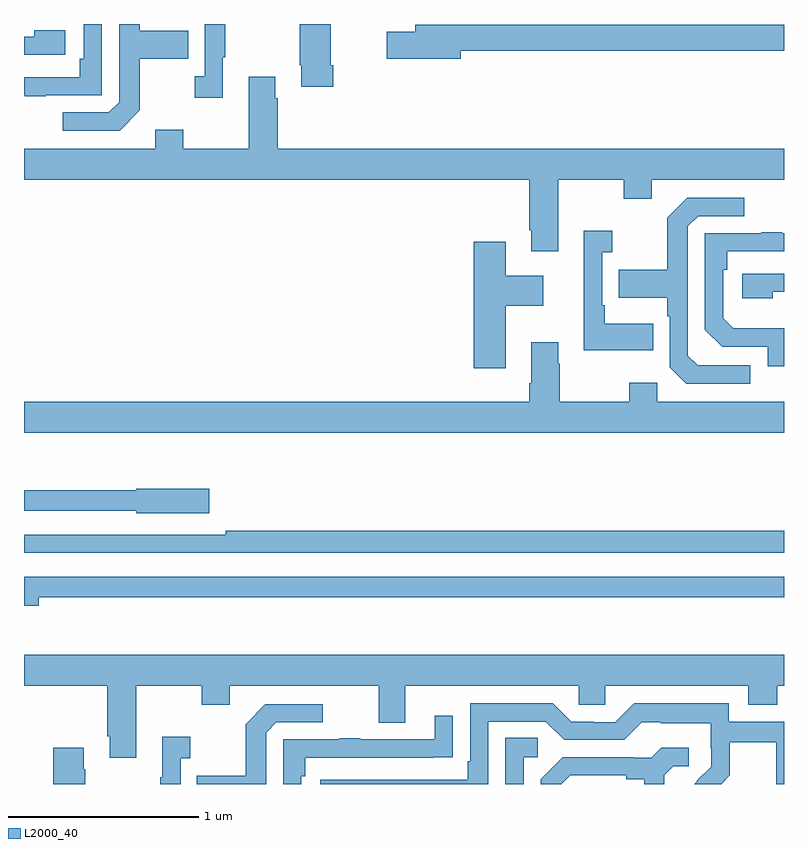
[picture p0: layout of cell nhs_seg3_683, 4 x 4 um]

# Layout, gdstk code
import gdstk
lib = gdstk.Library(unit=1e-6, precision=1e-09)
def P(c, l, *ps):  # polygons
    for p in ps: c.add(gdstk.Polygon(p, *l))
L2000_40 = (2000, 40)

nhs_seg3_683 = lib.new_cell('nhs_seg3_683')
P(nhs_seg3_683, L2000_40, [(145.609,703.945),(145.609,704.218),(145.865,704.218),(145.865,704.365),(145.609,704.365),(145.609,704.4),(145.5,704.4),(145.5,703.989),(145.446,703.935),(145.203,703.935),(145.203,703.839),(145.503,703.839)],
  [(145.115,704.025),(145.41,704.025),(145.41,704.4),(145.314,704.4),(145.314,704.218),(145.294,704.218),(145.294,704.121),(145,704.121),(145,704.025),(145.003,704.025),(145.003,704.02),(145.115,704.02)],
  [(146.627,704.182),(146.614,704.182),(146.614,704.4),(146.452,704.4),(146.452,704.182),(146.459,704.182),(146.459,704.07),(146.627,704.07)],
  [(146.047,704.225),(146.059,704.225),(146.059,704.4),(145.95,704.4),(145.95,704.126),(145.899,704.126),(145.899,704.013),(146.047,704.013)],
  [(147.298,704.26),(149,704.26),(149,704.396),(147.059,704.396),(147.059,704.36),(146.91,704.36),(146.91,704.218),(147.298,704.218)],
  [(145.216,704.368),(145.055,704.368),(145.055,704.334),(145,704.334),(145,704.238),(145.216,704.238)],
  [(147.811,703.58),(148.156,703.58),(148.156,703.481),(148.303,703.481),(148.303,703.58),(149,703.58),(149,703.744),(146.336,703.744),(146.336,704.009),(146.323,704.009),(146.323,704.122),(146.183,704.122),(146.183,703.744),(145.839,703.744),(145.839,703.843),(145.691,703.843),(145.691,703.744),(145,703.744),(145,703.58),(147.659,703.58),(147.659,703.315),(147.671,703.315),(147.671,703.203),(147.811,703.203)],
  [(148.822,702.603),(148.545,702.603),(148.494,702.654),(148.494,703.335),(148.548,703.389),(148.792,703.389),(148.792,703.485),(148.491,703.485),(148.386,703.379),(148.386,703.107),(148.129,703.107),(148.129,702.959),(148.386,702.959),(148.386,702.863),(148.398,702.863),(148.398,702.594),(148.485,702.507),(148.822,702.507)],
  [(148.313,702.823),(148.057,702.823),(148.057,702.919),(148.044,702.919),(148.044,703.199),(148.096,703.199),(148.096,703.312),(147.947,703.312),(147.947,702.683),(148.313,702.683)],
  [(149,702.799),(148.733,702.799),(148.68,702.852),(148.68,703.106),(148.7,703.106),(148.7,703.203),(149,703.203),(149,703.299),(148.991,703.299),(148.991,703.304),(148.879,703.304),(148.879,703.299),(148.584,703.299),(148.584,702.792),(148.674,702.702),(148.914,702.702),(148.914,702.6),(149,702.6)],
  [(147.535,702.917),(147.733,702.917),(147.733,703.075),(147.535,703.075),(147.535,703.255),(147.368,703.255),(147.368,702.588),(147.535,702.588)],
  [(148.94,702.99),(149,702.99),(149,703.086),(148.779,703.086),(148.779,702.956),(148.94,702.956)],
  [(149,702.412),(148.332,702.412),(148.332,702.511),(148.186,702.511),(148.186,702.412),(147.819,702.412),(147.819,702.611),(147.811,702.611),(147.811,702.724),(147.671,702.724),(147.671,702.508),(147.659,702.508),(147.659,702.412),(145,702.412),(145,702.248),(149,702.248)],
  [(145.975,701.955),(145.59,701.955),(145.59,701.947),(145,701.947),(145,701.838),(145.59,701.838),(145.59,701.825),(145.975,701.825)],
  [(149,701.732),(146.062,701.732),(146.062,701.712),(145,701.712),(145,701.616),(149,701.616)],
  [(145.078,701.382),(149,701.382),(149,701.49),(145,701.49),(145,701.339),(145.078,701.339)],
  [(145.591,700.916),(145.936,700.916),(145.936,700.817),(146.083,700.817),(146.083,700.916),(146.867,700.916),(146.867,700.722),(147.007,700.722),(147.007,700.916),(147.921,700.916),(147.921,700.818),(148.059,700.818),(148.059,700.916),(148.811,700.916),(148.811,700.817),(148.964,700.817),(148.964,700.916),(149,700.916),(149,701.08),(145,701.08),(145,700.916),(145.439,700.916),(145.439,700.651),(145.451,700.651),(145.451,700.539),(145.591,700.539)],
  [(147.444,700.728),(147.747,700.728),(147.843,700.632),(148.158,700.632),(148.251,700.725),(148.351,700.725),(148.351,700.721),(148.614,700.721),(148.614,700.587),(148.616,700.587),(148.616,700.49),(148.542,700.416),(148.543,700.415),(148.528,700.4),(148.67,700.4),(148.715,700.445),(148.715,700.62),(148.96,700.62),(148.96,700.4),(149,700.4),(149,700.728),(148.71,700.728),(148.71,700.825),(148.213,700.825),(148.113,700.725),(147.998,700.725),(147.998,700.728),(147.879,700.728),(147.783,700.824),(147.348,700.824),(147.348,700.519),(147.335,700.519),(147.335,700.422),(146.559,700.422),(146.559,700.4),(147.444,700.4)],
  [(146.274,700.671),(146.328,700.725),(146.572,700.725),(146.572,700.821),(146.271,700.821),(146.166,700.715),(146.166,700.443),(145.909,700.443),(145.909,700.4),(146.274,700.4)],
  [(146.46,700.442),(146.48,700.442),(146.48,700.539),(147.155,700.539),(147.155,700.54),(147.257,700.54),(147.257,700.759),(147.161,700.759),(147.161,700.635),(146.771,700.635),(146.771,700.64),(146.659,700.64),(146.659,700.635),(146.364,700.635),(146.364,700.4),(146.46,700.4)],
  [(145.824,700.535),(145.876,700.535),(145.876,700.648),(145.727,700.648),(145.727,700.435),(145.716,700.435),(145.716,700.4),(145.824,700.4)],
  [(147.63,700.542),(147.703,700.542),(147.703,700.643),(147.534,700.643),(147.534,700.4),(147.63,700.4)],
  [(145.323,700.478),(145.315,700.478),(145.315,700.591),(145.153,700.591),(145.153,700.4),(145.323,700.4)],
  [(147.874,700.446),(148.169,700.446),(148.169,700.424),(148.265,700.424),(148.265,700.4),(148.369,700.4),(148.369,700.447),(148.416,700.494),(148.498,700.494),(148.498,700.591),(148.354,700.591),(148.302,700.539),(148.208,700.539),(148.208,700.542),(147.836,700.542),(147.72,700.426),(147.72,700.4),(147.828,700.4)])

lib.write_gds('nhs_seg3_683.gds')
